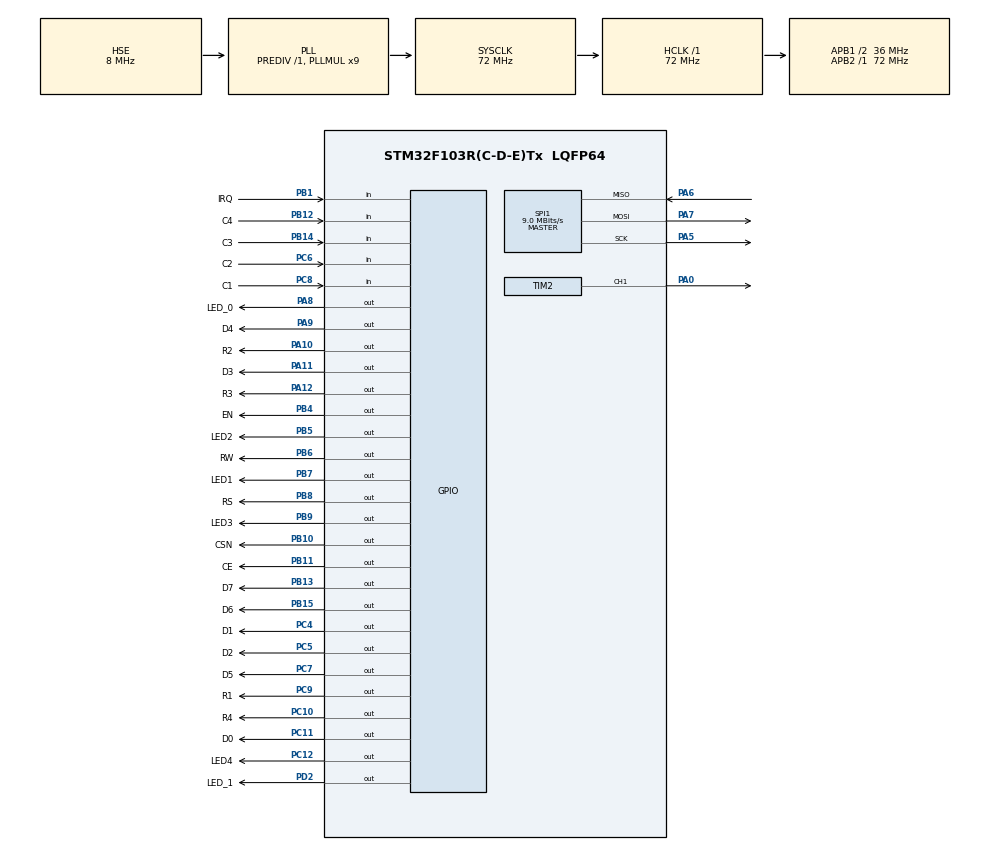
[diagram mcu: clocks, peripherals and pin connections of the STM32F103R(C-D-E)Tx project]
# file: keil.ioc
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Mcu.Family=STM32F1
Mcu.Name=STM32F103R(C-D-E)Tx
Mcu.Package=LQFP64
NVIC.PriorityGroup=NVIC_PRIORITYGROUP_4
PA0-WKUP.Signal=S_TIM2_CH1_ETR
PA10.GPIO_Label=R2
PA10.GPIO_PuPd=GPIO_NOPULL
PA10.Signal=GPIO_Output
PA11.GPIO_Label=D3
PA11.Signal=GPIO_Output
PA12.GPIO_Label=R3
PA12.GPIO_PuPd=GPIO_NOPULL
PA12.Signal=GPIO_Output
PA13.Mode=JTAG_4_pins
PA13.Signal=SYS_JTMS-SWDIO
PA14.Mode=JTAG_4_pins
PA14.Signal=SYS_JTCK-SWCLK
PA15.Mode=JTAG_4_pins
PA15.Signal=SYS_JTDI
PA5.Mode=Full_Duplex_Master
PA5.Signal=SPI1_SCK
PA6.Mode=Full_Duplex_Master
PA6.Signal=SPI1_MISO
PA7.Mode=Full_Duplex_Master
PA7.Signal=SPI1_MOSI
PA8.GPIO_Label=LED_0
PA8.Signal=GPIO_Output
PA9.GPIO_Label=D4
PA9.Signal=GPIO_Output
PB1.GPIO_Label=IRQ
PB1.Signal=GPIO_Input
PB10.GPIO_Label=CSN
PB10.Signal=GPIO_Output
PB11.GPIO_Label=CE
PB11.Signal=GPIO_Output
PB12.GPIO_Label=C4
PB12.GPIO_PuPd=GPIO_PULLUP
PB12.Signal=GPIO_Input
PB13.GPIO_Label=D7
PB13.Signal=GPIO_Output
PB14.GPIO_Label=C3
PB14.GPIO_PuPd=GPIO_PULLUP
PB14.Signal=GPIO_Input
PB15.GPIO_Label=D6
PB15.Signal=GPIO_Output
PB3.Mode=JTAG_4_pins
PB3.Signal=SYS_JTDO-TRACESWO
PB4.GPIO_Label=EN
PB4.Signal=GPIO_Output
PB5.GPIO_Label=LED2
PB5.Signal=GPIO_Output
PB6.GPIO_Label=RW
PB6.Signal=GPIO_Output
PB7.GPIO_Label=LED1
PB7.Signal=GPIO_Output
PB8.GPIO_Label=RS
PB8.Signal=GPIO_Output
PB9.GPIO_Label=LED3
PB9.Signal=GPIO_Output
PC10.GPIO_Label=R4
PC10.Signal=GPIO_Output
PC11.GPIO_Label=D0
PC11.Signal=GPIO_Output
PC12.GPIO_Label=LED4
PC12.Signal=GPIO_Output
PC14-OSC32_IN.Mode=LSE-External-Oscillator
PC14-OSC32_IN.Signal=RCC_OSC32_IN
PC15-OSC32_OUT.Mode=LSE-External-Oscillator
PC15-OSC32_OUT.Signal=RCC_OSC32_OUT
PC4.GPIO_Label=D1
PC4.Signal=GPIO_Output
PC5.GPIO_Label=D2
PC5.Signal=GPIO_Output
PC6.GPIO_Label=C2
PC6.GPIO_PuPd=GPIO_PULLUP
PC6.Signal=GPIO_Input
PC7.GPIO_Label=D5
PC7.Signal=GPIO_Output
PC8.GPIO_Label=C1
PC8.GPIO_PuPd=GPIO_PULLUP
PC8.Signal=GPIO_Input
PC9.GPIO_Label=R1
PC9.GPIO_PuPd=GPIO_NOPULL
PC9.Signal=GPIO_Output
PD0-OSC_IN.Mode=HSE-External-Oscillator
PD0-OSC_IN.Signal=RCC_OSC_IN
PD1-OSC_OUT.Mode=HSE-External-Oscillator
PD1-OSC_OUT.Signal=RCC_OSC_OUT
PD2.GPIO_Label=LED_1
PD2.Signal=GPIO_Output
ProjectManager.HeapSize=0x200
ProjectManager.StackSize=0x400
ProjectManager.TargetToolchain=MDK-ARM V5
RCC.AHBFreq_Value=72000000
RCC.APB1CLKDivider=RCC_HCLK_DIV2
RCC.APB1Freq_Value=36000000
RCC.APB1TimFreq_Value=72000000
RCC.APB2Freq_Value=72000000
RCC.APB2TimFreq_Value=72000000
RCC.HCLKFreq_Value=72000000
RCC.PLLMUL=RCC_PLL_MUL9
RCC.PLLSourceVirtual=RCC_PLLSOURCE_HSE
RCC.SYSCLKFreq_VALUE=72000000
RCC.SYSCLKSource=RCC_SYSCLKSOURCE_PLLCLK
RCC.USBFreq_Value=72000000
SH.S_TIM2_CH1_ETR.0=TIM2_CH1,PWM Generation1 CH1
SPI1.BaudRatePrescaler=SPI_BAUDRATEPRESCALER_8
SPI1.CalculateBaudRate=9.0 MBits/s
SPI1.Direction=SPI_DIRECTION_2LINES
SPI1.Mode=SPI_MODE_MASTER
SPI1.VirtualType=VM_MASTER
TIM2.AutoReloadPreload=TIM_AUTORELOAD_PRELOAD_DISABLE
TIM2.Channel-PWM\ Generation1\ CH1=TIM_CHANNEL_1
TIM2.CounterMode=TIM_COUNTERMODE_UP
TIM2.OCPolarity_1=TIM_OCPOLARITY_HIGH
TIM2.Period=1000-1
TIM2.Prescaler=36-1
TIM2.Pulse-PWM\ Generation1\ CH1=500-1
VP_TIM2_VS_ClockSourceINT.Mode=Internal
board=custom

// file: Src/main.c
/* USER CODE BEGIN Header */
/**
  ******************************************************************************
  * @file           : main.c
  * @brief          : Main program body
  ******************************************************************************
  * @attention
  *
  * <h2><center>&copy; Copyright (c) 2019 STMicroelectronics.
  * All rights reserved.</center></h2>
  *
  * This software component is licensed by ST under BSD 3-Clause license,
  * the "License"; You may not use this file except in compliance with the
  * License. You may obtain a copy of the License at:
  *                        opensource.org/licenses/BSD-3-Clause
  *
  ******************************************************************************
  */
/* USER CODE END Header */

#include "main.h"

/* USER CODE BEGIN Includes */
#include "NRF24L01.h"
#include "key.h"
#include "1602.h"
#include "LED.h"

/* USER CODE END Includes */

/* USER CODE BEGIN PTD */
typedef uint8_t u8;
typedef uint32_t u32;

uint8_t percent = 5;   //占空比，范围是1-10
/* USER CODE END PTD */

/* USER CODE BEGIN PD */
void delay_init(u8 SYSCLK);
void delay_us(u32 nus);
/* USER CODE END PD */

SPI_HandleTypeDef hspi1;

TIM_HandleTypeDef htim2;

void SystemClock_Config(void);
static void MX_GPIO_Init(void);
static void MX_SPI1_Init(void);
static void MX_TIM2_Init(void);
/* USER CODE BEGIN PFP */
u8 fac_us;
uint8_t tx_buf[25] = {0x48, 0x00, 0x00, 0x00, 0x00, 0x00, 0x00, 0x00, 0x00, 0x00, 0x00, 0x00, 0x00, 0x00, 0x00, 0x00, 0x00, 0x00, 0x00, 0x00, 0x00, 0x00, 0x00, 0x00, 0x00};
/* USER CODE END PFP */

/* USER CODE BEGIN 0 */
uint8_t TX_frequency = 0x5a;	//24L01频率初始化为5a
uint8_t RX_frequency = 0x5a;	//24L01频率初始化为5a

uint8_t key_val = 0;
uint8_t flag = 0;            //指示键值是否改变
unsigned char display_1[16] = {0,0,0,0,0,0,0,0,0,0,0,0,0,0,0,0};
unsigned char display_2[16] = {0,0,0,0,0,0,0,0,0,0,0,0,0,0,0,0};
int posi = 0;                  //指示显示位数
/* USER CODE END 0 */

int main(void)
{

  /* MCU Configuration--------------------------------------------------------*/

  /* Reset of all peripherals, Initializes the Flash interface and the Systick. */
  HAL_Init();

  /* Configure the system clock */
  SystemClock_Config();

  /* USER CODE BEGIN SysInit */
	delay_init(72);
  /* USER CODE END SysInit */

  /* Initialize all configured peripherals */
  MX_GPIO_Init();
  MX_SPI1_Init();
  MX_TIM2_Init();
  /* USER CODE BEGIN 2 */
	LCD_Init();
  /* USER CODE END 2 */

  /* Infinite loop */
  /* USER CODE BEGIN WHILE */

	LCD_write_string(0, 0, "WELCOME!");
	//LCD_write_aword(1, 1, 'a');
	HAL_Delay(3000);

	LCD1602_ClearScreen();

	while(NRF24L01_TX_Check())
	{
		HAL_GPIO_TogglePin (LED1_GPIO_Port,LED1_Pin);
		HAL_Delay(1000);
		LCD_write_string(0, 0, "2401 ERR!");
	}

	LCD1602_ClearScreen();

	TX_Mode();

	/*初始化完成提示音*/
//	HAL_TIM_PWM_Start(&htim2, TIM_CHANNEL_1);
//	HAL_Delay(150);
//	HAL_TIM_PWM_Stop(&htim2, TIM_CHANNEL_1);
//	HAL_Delay(70);
//	HAL_TIM_PWM_Start(&htim2, TIM_CHANNEL_1);
//	HAL_Delay(150);
//	HAL_TIM_PWM_Stop(&htim2, TIM_CHANNEL_1);

  while (1)
  {
    /* USER CODE END WHILE */

    /* USER CODE BEGIN 3 */

		//flag 初始化为 0
		if(flag == 1)
		{
			switch(key_val)
			{
				case 1: key1(); flag = key_val = 0; break;
				case 2: key2(); flag = key_val = 0; break;
				case 3: key3(); flag = key_val = 0; break;
				case 4: key4(); flag = key_val = 0; break;
				case 5: key5(); flag = key_val = 0; break;
				case 6: key6(); flag = key_val = 0; break;
				case 7: key7(); flag = key_val = 0; break;
				case 8: key8(); flag = key_val = 0; break;
				case 9: key9(); flag = key_val = 0; break;
				case 10: key10(); flag = key_val = 0; break;
				case 11: key11(); flag = key_val = 0; break;
				case 12: key12(); flag = key_val = 0; break;
				case 13: key13(); flag = key_val = 0; break;
				case 14: key14(); flag = key_val = 0; break;
				case 15: key15(); flag = key_val = 0; break;
				case 16: key16(); flag = key_val = 0; break;
			}
		}

		else
		{
			key_scan();
		}

//		HAL_GPIO_TogglePin(LED_0_GPIO_Port, LED_0_Pin);
//		HAL_Delay(500);

//		if(NRF24L01_TxPacket(tx_buf) == TX_OK)
//		{
//			HAL_GPIO_TogglePin (LED1_GPIO_Port,LED1_Pin);
//		  HAL_Delay(10);
//		}
//		HAL_TIM_PWM_Start(&htim2, TIM_CHANNEL_1);
//		HAL_Delay(1000);
//		HAL_TIM_PWM_Stop(&htim2, TIM_CHANNEL_1);
//		HAL_Delay(1000);

//		HAL_GPIO_TogglePin(LED_0_GPIO_Port, LED_0_Pin);
//		HAL_Delay(100);
//		HAL_GPIO_TogglePin(LED_0_GPIO_Port, LED_0_Pin);
//		HAL_Delay(100);
//		HAL_GPIO_TogglePin(LED_0_GPIO_Port, LED_0_Pin);
//		HAL_Delay(100);
//
//		HAL_GPIO_TogglePin(LED_1_GPIO_Port, LED_0_Pin);
//		HAL_Delay(100);
//		HAL_GPIO_TogglePin(LED_1_GPIO_Port, LED_0_Pin);
//		HAL_Delay(100);
//		HAL_GPIO_TogglePin(LED_1_GPIO_Port, LED_0_Pin);
//		HAL_Delay(100);

		HAL_GPIO_TogglePin(LED_0_GPIO_Port, LED_0_Pin);
		HAL_GPIO_TogglePin(LED_1_GPIO_Port, LED_0_Pin);
		HAL_Delay(100);
		HAL_GPIO_TogglePin(LED_0_GPIO_Port, LED_0_Pin);
		HAL_GPIO_TogglePin(LED_1_GPIO_Port, LED_0_Pin);
		HAL_Delay(100);
		HAL_GPIO_TogglePin(LED_0_GPIO_Port, LED_0_Pin);
		HAL_GPIO_TogglePin(LED_1_GPIO_Port, LED_0_Pin);
		HAL_Delay(100);
  }
  /* USER CODE END 3 */
}

void SystemClock_Config(void)
{
  RCC_OscInitTypeDef RCC_OscInitStruct = {0};
  RCC_ClkInitTypeDef RCC_ClkInitStruct = {0};

  /** Initializes the CPU, AHB and APB busses clocks
  */
  RCC_OscInitStruct.OscillatorType = RCC_OSCILLATORTYPE_HSE;
  RCC_OscInitStruct.HSEState = RCC_HSE_ON;
  RCC_OscInitStruct.HSEPredivValue = RCC_HSE_PREDIV_DIV1;
  RCC_OscInitStruct.HSIState = RCC_HSI_ON;
  RCC_OscInitStruct.PLL.PLLState = RCC_PLL_ON;
  RCC_OscInitStruct.PLL.PLLSource = RCC_PLLSOURCE_HSE;
  RCC_OscInitStruct.PLL.PLLMUL = RCC_PLL_MUL9;
  if (HAL_RCC_OscConfig(&RCC_OscInitStruct) != HAL_OK)
  {
    Error_Handler();
  }
  /** Initializes the CPU, AHB and APB busses clocks
  */
  RCC_ClkInitStruct.ClockType = RCC_CLOCKTYPE_HCLK|RCC_CLOCKTYPE_SYSCLK
                              |RCC_CLOCKTYPE_PCLK1|RCC_CLOCKTYPE_PCLK2;
  RCC_ClkInitStruct.SYSCLKSource = RCC_SYSCLKSOURCE_PLLCLK;
  RCC_ClkInitStruct.AHBCLKDivider = RCC_SYSCLK_DIV1;
  RCC_ClkInitStruct.APB1CLKDivider = RCC_HCLK_DIV2;
  RCC_ClkInitStruct.APB2CLKDivider = RCC_HCLK_DIV1;

  if (HAL_RCC_ClockConfig(&RCC_ClkInitStruct, FLASH_LATENCY_2) != HAL_OK)
  {
    Error_Handler();
  }
}

static void MX_SPI1_Init(void)
{

  /* SPI1 parameter configuration*/
  hspi1.Instance = SPI1;
  hspi1.Init.Mode = SPI_MODE_MASTER;
  hspi1.Init.Direction = SPI_DIRECTION_2LINES;
  hspi1.Init.DataSize = SPI_DATASIZE_8BIT;
  hspi1.Init.CLKPolarity = SPI_POLARITY_LOW;
  hspi1.Init.CLKPhase = SPI_PHASE_1EDGE;
  hspi1.Init.NSS = SPI_NSS_SOFT;
  hspi1.Init.BaudRatePrescaler = SPI_BAUDRATEPRESCALER_8;
  hspi1.Init.FirstBit = SPI_FIRSTBIT_MSB;
  hspi1.Init.TIMode = SPI_TIMODE_DISABLE;
  hspi1.Init.CRCCalculation = SPI_CRCCALCULATION_DISABLE;
  hspi1.Init.CRCPolynomial = 10;
  if (HAL_SPI_Init(&hspi1) != HAL_OK)
  {
    Error_Handler();
  }

}

static void MX_TIM2_Init(void)
{

  TIM_ClockConfigTypeDef sClockSourceConfig = {0};
  TIM_MasterConfigTypeDef sMasterConfig = {0};
  TIM_OC_InitTypeDef sConfigOC = {0};

  htim2.Instance = TIM2;
  htim2.Init.Prescaler = 36-1;
  htim2.Init.CounterMode = TIM_COUNTERMODE_UP;
  htim2.Init.Period = 1000-1;
  htim2.Init.ClockDivision = TIM_CLOCKDIVISION_DIV1;
  htim2.Init.AutoReloadPreload = TIM_AUTORELOAD_PRELOAD_DISABLE;
  if (HAL_TIM_Base_Init(&htim2) != HAL_OK)
  {
    Error_Handler();
  }
  sClockSourceConfig.ClockSource = TIM_CLOCKSOURCE_INTERNAL;
  if (HAL_TIM_ConfigClockSource(&htim2, &sClockSourceConfig) != HAL_OK)
  {
    Error_Handler();
  }
  if (HAL_TIM_PWM_Init(&htim2) != HAL_OK)
  {
    Error_Handler();
  }
  sMasterConfig.MasterOutputTrigger = TIM_TRGO_RESET;
  sMasterConfig.MasterSlaveMode = TIM_MASTERSLAVEMODE_DISABLE;
  if (HAL_TIMEx_MasterConfigSynchronization(&htim2, &sMasterConfig) != HAL_OK)
  {
    Error_Handler();
  }
  sConfigOC.OCMode = TIM_OCMODE_PWM1;
  sConfigOC.Pulse = 500-1;
  sConfigOC.OCPolarity = TIM_OCPOLARITY_HIGH;
  sConfigOC.OCFastMode = TIM_OCFAST_DISABLE;
  if (HAL_TIM_PWM_ConfigChannel(&htim2, &sConfigOC, TIM_CHANNEL_1) != HAL_OK)
  {
    Error_Handler();
  }
  HAL_TIM_MspPostInit(&htim2);

}

static void MX_GPIO_Init(void)
{
  GPIO_InitTypeDef GPIO_InitStruct = {0};

  /* GPIO Ports Clock Enable */
  __HAL_RCC_GPIOC_CLK_ENABLE();
  __HAL_RCC_GPIOD_CLK_ENABLE();
  __HAL_RCC_GPIOA_CLK_ENABLE();
  __HAL_RCC_GPIOB_CLK_ENABLE();

  /*Configure GPIO pin Output Level */
  HAL_GPIO_WritePin(GPIOC, D1_Pin|D2_Pin|D5_Pin|R1_Pin
                          |R4_Pin|D0_Pin|LED4_Pin, GPIO_PIN_RESET);

  /*Configure GPIO pin Output Level */
  HAL_GPIO_WritePin(GPIOB, CSN_Pin|CE_Pin|D7_Pin|D6_Pin
                          |EN_Pin|LED2_Pin|RW_Pin|LED1_Pin
                          |RS_Pin|LED3_Pin, GPIO_PIN_RESET);

  /*Configure GPIO pin Output Level */
  HAL_GPIO_WritePin(GPIOA, LED_0_Pin|D4_Pin|R2_Pin|D3_Pin
                          |R3_Pin, GPIO_PIN_RESET);

  /*Configure GPIO pin Output Level */
  HAL_GPIO_WritePin(LED_1_GPIO_Port, LED_1_Pin, GPIO_PIN_RESET);

  /*Configure GPIO pins : D1_Pin D2_Pin D5_Pin R1_Pin
                           R4_Pin D0_Pin LED4_Pin */
  GPIO_InitStruct.Pin = D1_Pin|D2_Pin|D5_Pin|R1_Pin
                          |R4_Pin|D0_Pin|LED4_Pin;
  GPIO_InitStruct.Mode = GPIO_MODE_OUTPUT_PP;
  GPIO_InitStruct.Pull = GPIO_NOPULL;
  GPIO_InitStruct.Speed = GPIO_SPEED_FREQ_LOW;
  HAL_GPIO_Init(GPIOC, &GPIO_InitStruct);

  /*Configure GPIO pin : IRQ_Pin */
  GPIO_InitStruct.Pin = IRQ_Pin;
  GPIO_InitStruct.Mode = GPIO_MODE_INPUT;
  GPIO_InitStruct.Pull = GPIO_NOPULL;
  HAL_GPIO_Init(IRQ_GPIO_Port, &GPIO_InitStruct);

  /*Configure GPIO pins : CSN_Pin CE_Pin D7_Pin D6_Pin
                           EN_Pin LED2_Pin RW_Pin LED1_Pin
                           RS_Pin LED3_Pin */
  GPIO_InitStruct.Pin = CSN_Pin|CE_Pin|D7_Pin|D6_Pin
                          |EN_Pin|LED2_Pin|RW_Pin|LED1_Pin
                          |RS_Pin|LED3_Pin;
  GPIO_InitStruct.Mode = GPIO_MODE_OUTPUT_PP;
  GPIO_InitStruct.Pull = GPIO_NOPULL;
  GPIO_InitStruct.Speed = GPIO_SPEED_FREQ_LOW;
  HAL_GPIO_Init(GPIOB, &GPIO_InitStruct);

  /*Configure GPIO pins : C4_Pin C3_Pin */
  GPIO_InitStruct.Pin = C4_Pin|C3_Pin;
  GPIO_InitStruct.Mode = GPIO_MODE_INPUT;
  GPIO_InitStruct.Pull = GPIO_PULLUP;
  HAL_GPIO_Init(GPIOB, &GPIO_InitStruct);

  /*Configure GPIO pins : C2_Pin C1_Pin */
  GPIO_InitStruct.Pin = C2_Pin|C1_Pin;
  GPIO_InitStruct.Mode = GPIO_MODE_INPUT;
  GPIO_InitStruct.Pull = GPIO_PULLUP;
  HAL_GPIO_Init(GPIOC, &GPIO_InitStruct);

  /*Configure GPIO pins : LED_0_Pin D4_Pin R2_Pin D3_Pin
                           R3_Pin */
  GPIO_InitStruct.Pin = LED_0_Pin|D4_Pin|R2_Pin|D3_Pin
                          |R3_Pin;
  GPIO_InitStruct.Mode = GPIO_MODE_OUTPUT_PP;
  GPIO_InitStruct.Pull = GPIO_NOPULL;
  GPIO_InitStruct.Speed = GPIO_SPEED_FREQ_LOW;
  HAL_GPIO_Init(GPIOA, &GPIO_InitStruct);

  /*Configure GPIO pin : LED_1_Pin */
  GPIO_InitStruct.Pin = LED_1_Pin;
  GPIO_InitStruct.Mode = GPIO_MODE_OUTPUT_PP;
  GPIO_InitStruct.Pull = GPIO_NOPULL;
  GPIO_InitStruct.Speed = GPIO_SPEED_FREQ_LOW;
  HAL_GPIO_Init(LED_1_GPIO_Port, &GPIO_InitStruct);

}

/* USER CODE BEGIN 4 */
/**
 * @brief Delay on us level
 * @func  void BSP_Delay_us()
 * @param uint32_t nus
 * @return   None
 * @note  nus <= 798915us(2^24/fac_us @fac_us=21)
**/
//void BSP_Delay_us(uint32_t nus)
//{
//    uint32_t temp;
//    //Get System Clock Frequency(in MHz)
//    fac_us = HAL_RCC_GetSysClockFreq() / 1000000 / 8;
//    SysTick->LOAD = nus*fac_us;
//    SysTick->VAL = 0x00;
//    SysTick->CTRL |= SysTick_CTRL_ENABLE_Msk;
//    do
//    {
//        temp = SysTick->CTRL;
//    }while((temp&0x01) && !(temp&(1<<16)));
//    SysTick->CTRL &= ~SysTick_CTRL_ENABLE_Msk;
//    SysTick->VAL = 0X00;
//}

void delay_init(u8 SYSCLK)
{
    HAL_SYSTICK_CLKSourceConfig(SYSTICK_CLKSOURCE_HCLK);
    //SysTick  HCLK
    fac_us=SYSCLK;              // OS,fac_us
}

void delay_us(u32 nus)
{
    u32 ticks;
    u32 told,tnow,tcnt=0;
    u32 reload=SysTick->LOAD;                   //LOAD
    ticks=nus*fac_us;
    told=SysTick->VAL;
    while(1)
    {
        tnow=SysTick->VAL;
        if(tnow!=told)
        {
            if(tnow<told)tcnt+=told-tnow;       // SYSTICK.
            else tcnt+=reload-tnow+told;
            told=tnow;
            if(tcnt>=ticks)break;
        }
    }
}

//void HAL_GPIO_EXTI_Callback(uint16_t GPIO_Pin)
//{
//	switch(GPIO_Pin)
//	{
//		case GPIO_PIN_6: row = 2;  break;
//		case GPIO_PIN_8: row = 1;  break;
//		case GPIO_PIN_12: row = 4;  break;
//		case GPIO_PIN_14: row = 3;  break;
//	}
//}

/* USER CODE END 4 */

void Error_Handler(void)
{
}

/************************ (C) COPYRIGHT STMicroelectronics *****END OF FILE****/
